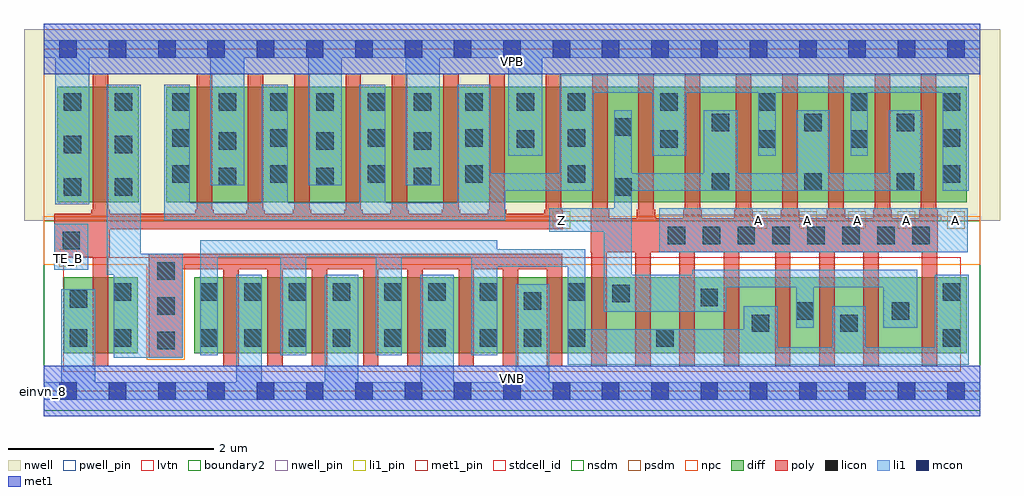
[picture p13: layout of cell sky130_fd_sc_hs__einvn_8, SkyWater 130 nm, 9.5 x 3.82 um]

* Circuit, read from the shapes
.subckt sky130_fd_sc_hs__einvn_8 A TE_B VGND VNB VPB VPWR Z
XM1 n1 TE_B VGND VNB sky130_fd_pr__nfet_01v8_lvt w=0.74 l=0.15
XM2 VGND n1 n2 VNB sky130_fd_pr__nfet_01v8_lvt w=0.74 l=0.15 m=8
XM3 Z A n2 VNB sky130_fd_pr__nfet_01v8_lvt w=0.74 l=0.15 m=8
XM4 n1 TE_B VPWR VPB sky130_fd_pr__pfet_01v8 w=1.12 l=0.15
XM5 VPWR TE_B n3 VPB sky130_fd_pr__pfet_01v8 w=1.12 l=0.15 m=8
XM6 Z A n3 VPB sky130_fd_pr__pfet_01v8 w=1.12 l=0.15 m=8
.ends

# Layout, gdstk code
import gdstk
lib = gdstk.Library(unit=1e-6, precision=1e-09)
def R(c, l, rs):  # rectangles x0, y0, x1, y1
    for r in rs: c.add(gdstk.rectangle(r[:2], r[2:], *l))
def A(c, l, x, y, w, h, nx, ny, dx, dy):  # array of equal rectangles
    R(c, l, [(x+i*dx, y+j*dy, x+i*dx+w, y+j*dy+h) for i in range(nx) for j in range(ny)])
def P(c, l, *ps):  # polygons
    for p in ps: c.add(gdstk.Polygon(p, *l))
nwell_pin = (64, 16)
nwell = (64, 20)
diff = (65, 20)
poly = (66, 20)
licon = (66, 44)
li1_pin = (67, 16)
li1 = (67, 20)
mcon = (67, 44)
met1_pin = (68, 16)
met1 = (68, 20)
stdcell_id = (81, 4)
nsdm = (93, 44)
psdm = (94, 20)
npc = (95, 20)
pwell_pin = (122, 16)
lvtn = (125, 44)
boundary2 = (236, 0)

sky130_fd_sc_hs__einvn_8 = lib.new_cell('sky130_fd_sc_hs__einvn_8')
R(sky130_fd_sc_hs__einvn_8, nwell_pin, [(0,3.085,9.12,3.33)])
R(sky130_fd_sc_hs__einvn_8, nwell, [(-0.19,1.66,9.31,3.52)])
R(sky130_fd_sc_hs__einvn_8, diff, [(0.195,0.37,0.915,1.11), (1.465,0.37,8.985,1.11), (0.135,1.84,0.925,2.96), (1.195,1.84,8.985,2.96)])
P(sky130_fd_sc_hs__einvn_8, poly, [(8.705,1.765),(8.69,1.765),(8.69,3.09),(8.54,3.09),(8.54,1.765),(8.525,1.765),(8.525,1.68),(8.255,1.68),(8.255,1.765),(8.24,1.765),(8.24,3.09),(8.09,3.09),(8.09,1.765),(8.075,1.765),(8.075,1.68),(7.805,1.68),(7.805,1.765),(7.79,1.765),(7.79,3.09),(7.64,3.09),(7.64,1.765),(7.625,1.765),(7.625,1.68),(7.355,1.68),(7.355,1.765),(7.34,1.765),(7.34,3.09),(7.19,3.09),(7.19,1.765),(7.175,1.765),(7.175,1.68),(6.905,1.68),(6.905,1.765),(6.89,1.765),(6.89,3.09),(6.74,3.09),(6.74,1.765),(6.725,1.765),(6.725,1.68),(6.405,1.68),(6.405,1.765),(6.39,1.765),(6.39,3.09),(6.24,3.09),(6.24,1.765),(6.225,1.765),(6.225,1.68),(5.955,1.68),(5.955,1.765),(5.94,1.765),(5.94,3.09),(5.79,3.09),(5.79,1.765),(5.775,1.765),(5.775,1.68),(5.505,1.68),(5.505,1.765),(5.49,1.765),(5.49,3.09),(5.34,3.09),(5.34,1.765),(5.325,1.765),(5.325,1.35),(5.33,1.35),(5.33,0.24),(5.48,0.24),(5.48,1.35),(5.76,1.35),(5.76,0.24),(5.91,0.24),(5.91,1.35),(6.19,1.35),(6.19,0.24),(6.34,0.24),(6.34,1.35),(6.62,1.35),(6.62,0.24),(6.77,0.24),(6.77,1.35),(7.12,1.35),(7.12,0.24),(7.27,0.24),(7.27,1.35),(7.55,1.35),(7.55,0.24),(7.7,0.24),(7.7,1.35),(7.98,1.35),(7.98,0.24),(8.13,0.24),(8.13,1.35),(8.55,1.35),(8.55,0.24),(8.7,0.24),(8.7,1.35),(8.705,1.35)],
  [(5.055,1.765),(5.04,1.765),(5.04,3.09),(4.89,3.09),(4.89,1.765),(4.875,1.765),(4.875,1.725),(4.505,1.725),(4.505,1.765),(4.49,1.765),(4.49,3.09),(4.34,3.09),(4.34,1.765),(4.325,1.765),(4.325,1.725),(4.055,1.725),(4.055,1.765),(4.04,1.765),(4.04,3.09),(3.89,3.09),(3.89,1.765),(3.875,1.765),(3.875,1.725),(3.555,1.725),(3.555,1.765),(3.54,1.765),(3.54,3.09),(3.39,3.09),(3.39,1.765),(3.375,1.765),(3.375,1.725),(3.105,1.725),(3.105,1.765),(3.09,1.765),(3.09,3.09),(2.94,3.09),(2.94,1.765),(2.925,1.765),(2.925,1.725),(2.605,1.725),(2.605,1.765),(2.59,1.765),(2.59,3.09),(2.44,3.09),(2.44,1.765),(2.425,1.765),(2.425,1.725),(2.155,1.725),(2.155,1.765),(2.14,1.765),(2.14,3.09),(1.99,3.09),(1.99,1.765),(1.975,1.765),(1.975,1.725),(1.655,1.725),(1.655,1.765),(1.64,1.765),(1.64,3.09),(1.49,3.09),(1.49,1.765),(1.475,1.765),(1.475,1.725),(0.645,1.725),(0.645,1.765),(0.63,1.765),(0.63,3.09),(0.48,3.09),(0.48,1.765),(0.465,1.765),(0.465,1.725),(0.105,1.725),(0.105,1.3),(0.48,1.3),(0.48,0.24),(0.63,0.24),(0.63,1.3),(0.645,1.3),(0.645,1.575),(5.055,1.575)],
  [(5.05,1.335),(1.025,1.335),(1.025,0.325),(1.355,0.325),(1.355,1.185),(1.75,1.185),(1.75,0.24),(1.9,0.24),(1.9,1.185),(2.18,1.185),(2.18,0.24),(2.33,0.24),(2.33,1.185),(2.61,1.185),(2.61,0.24),(2.76,0.24),(2.76,1.185),(3.11,1.185),(3.11,0.24),(3.26,0.24),(3.26,1.185),(3.54,1.185),(3.54,0.24),(3.69,0.24),(3.69,1.185),(4.04,1.185),(4.04,0.24),(4.19,0.24),(4.19,1.185),(4.47,1.185),(4.47,0.24),(4.62,0.24),(4.62,1.185),(4.9,1.185),(4.9,0.24),(5.05,0.24)])
A(sky130_fd_sc_hs__einvn_8, licon, 1.105, 0.405, 0.17, 0.17, 1, 3, 0, 0.34)
A(sky130_fd_sc_hs__einvn_8, licon, 1.525, 0.43, 0.17, 0.17, 4, 2, 0.43, 0.45)
A(sky130_fd_sc_hs__einvn_8, licon, 4.245, 0.43, 0.17, 0.17, 3, 1, 0.43, 0)
A(sky130_fd_sc_hs__einvn_8, licon, 6.075, 1.43, 0.17, 0.17, 8, 1, 0.34, 0)
A(sky130_fd_sc_hs__einvn_8, licon, 0.195, 1.9, 0.17, 0.17, 1, 3, 0, 0.415)
A(sky130_fd_sc_hs__einvn_8, licon, 0.695, 1.9, 0.17, 0.17, 1, 3, 0, 0.415)
A(sky130_fd_sc_hs__einvn_8, licon, 6.505, 1.95, 0.17, 0.17, 3, 2, 0.9, 0.58)
A(sky130_fd_sc_hs__einvn_8, licon, 1.705, 2.005, 0.17, 0.17, 3, 2, 0.95, 0.345)
A(sky130_fd_sc_hs__einvn_8, licon, 1.255, 2.03, 0.17, 0.17, 4, 2, 0.95, 0.35)
A(sky130_fd_sc_hs__einvn_8, licon, 3.605, 2.73, 0.17, 0.17, 4, 1, 0.5, 0)
A(sky130_fd_sc_hs__einvn_8, licon, 6.955, 2.73, 0.17, 0.17, 3, 1, 0.9, 0)
R(sky130_fd_sc_hs__einvn_8, licon, [(0.255,0.43,0.425,0.6), (0.685,0.43,0.855,0.6), (3.315,0.43,3.485,0.6), (3.745,0.43,3.915,0.6), (5.965,0.43,6.135,0.6), (8.755,0.43,8.925,0.6), (6.895,0.575,7.065,0.745), (7.755,0.575,7.925,0.745), (7.325,0.695,7.495,0.865), (8.255,0.695,8.425,0.865), (4.675,0.79,4.845,0.96), (0.255,0.81,0.425,0.98), (6.395,0.825,6.565,0.995), (5.535,0.865,5.705,1.035), (0.685,0.88,0.855,1.05), (3.315,0.88,3.485,1.05), (3.745,0.88,3.915,1.05), (4.245,0.88,4.415,1.05), (5.105,0.88,5.275,1.05), (8.755,0.88,8.925,1.05), (0.185,1.38,0.355,1.55), (5.555,1.9,5.725,2.07), (5.105,2.03,5.275,2.2), (8.755,2.03,8.925,2.2), (4.605,2.37,4.775,2.54), (6.005,2.37,6.175,2.54), (6.955,2.37,7.125,2.54), (7.855,2.37,8.025,2.54), (5.105,2.38,5.275,2.55), (8.755,2.38,8.925,2.55), (5.555,2.485,5.725,2.655), (1.255,2.73,1.425,2.9), (1.705,2.73,1.875,2.9), (2.205,2.73,2.375,2.9), (2.655,2.73,2.825,2.9), (3.155,2.73,3.325,2.9), (6.005,2.73,6.175,2.9)])
A(sky130_fd_sc_hs__einvn_8, li1_pin, 6.875, 1.58, 0.17, 0.17, 5, 1, 0.48, 0)
R(sky130_fd_sc_hs__einvn_8, li1_pin, [(0.155,1.21,0.325,1.38), (4.955,1.58,5.125,1.75)])
R(sky130_fd_sc_hs__einvn_8, li1, [(0.105,1.18,0.435,1.63), (5.995,1.35,8.995,1.78)])
P(sky130_fd_sc_hs__einvn_8, li1, [(0,-0.085),(0,0.085),(0.175,0.085),(0.175,0.99),(0.505,0.99),(0.505,0.085),(1.875,0.085),(1.875,1.13),(2.125,1.13),(2.125,0.085),(2.735,0.085),(2.735,1.13),(3.065,1.13),(3.065,0.085),(3.665,0.085),(3.665,1.13),(3.995,1.13),(3.995,0.085),(4.595,0.085),(4.595,1.04),(4.925,1.04),(4.925,0.085),(9.12,0.085),(9.12,-0.085)],
  [(0,3.245),(0,3.415),(9.12,3.415),(9.12,3.245),(4.855,3.245),(4.855,2.29),(4.525,2.29),(4.525,3.245),(3.855,3.245),(3.855,2.005),(3.525,2.005),(3.525,3.245),(2.905,3.245),(2.905,2.005),(2.575,2.005),(2.575,3.245),(1.955,3.245),(1.955,2.005),(1.625,2.005),(1.625,3.245),(0.445,3.245),(0.445,1.82),(0.115,1.82),(0.115,3.245)],
  [(5.555,1.78),(5.555,2.735),(5.725,2.735),(5.725,2.12),(6.425,2.12),(6.425,2.735),(6.755,2.735),(6.755,2.12),(7.325,2.12),(7.325,2.735),(7.655,2.735),(7.655,2.12),(8.225,2.12),(8.225,2.735),(8.555,2.735),(8.555,1.95),(5.725,1.95),(5.725,1.13),(6.315,1.13),(6.315,1.18),(8.505,1.18),(8.505,0.615),(8.175,0.615),(8.175,1.01),(7.495,1.01),(7.495,0.615),(7.325,0.615),(7.325,1.01),(6.645,1.01),(6.645,0.77),(5.455,0.77),(5.455,1.55),(4.925,1.55),(4.925,1.78)],
  [(0.685,0.325),(0.685,1.13),(0.615,1.13),(0.615,2.98),(0.945,2.98),(0.945,1.335),(1.355,1.335),(1.355,0.325)],
  [(1.525,1.47),(4.415,1.47),(4.415,1.38),(5.275,1.38),(5.275,0.6),(6.815,0.6),(6.815,0.825),(7.145,0.825),(7.145,0.425),(7.675,0.425),(7.675,0.825),(8.005,0.825),(8.005,0.425),(8.675,0.425),(8.675,1.13),(9.005,1.13),(9.005,0.255),(5.105,0.255),(5.105,1.21),(4.415,1.21),(4.415,0.35),(4.165,0.35),(4.165,1.3),(3.485,1.3),(3.485,0.35),(3.235,0.35),(3.235,1.3),(2.555,1.3),(2.555,0.35),(2.305,0.35),(2.305,1.3),(1.695,1.3),(1.695,0.35),(1.525,0.35)],
  [(9.005,3.075),(5.025,3.075),(5.025,2.12),(4.355,2.12),(4.355,2.98),(4.025,2.98),(4.025,1.835),(3.325,1.835),(3.325,2.98),(3.075,2.98),(3.075,1.835),(2.375,1.835),(2.375,2.98),(2.125,2.98),(2.125,1.835),(1.425,1.835),(1.425,2.98),(1.175,2.98),(1.175,1.665),(4.495,1.665),(4.495,1.95),(5.355,1.95),(5.355,2.905),(5.925,2.905),(5.925,2.29),(6.255,2.29),(6.255,2.905),(6.955,2.905),(6.955,2.29),(7.125,2.29),(7.125,2.905),(7.855,2.905),(7.855,2.29),(8.025,2.29),(8.025,2.905),(8.755,2.905),(8.755,1.95),(9.005,1.95)])
A(sky130_fd_sc_hs__einvn_8, mcon, 0.155, -0.085, 0.17, 0.17, 19, 2, 0.48, 3.33)
R(sky130_fd_sc_hs__einvn_8, met1_pin, [(0,0,9.12,0.245), (0,3.085,9.12,3.33)])
R(sky130_fd_sc_hs__einvn_8, met1, [(0,-0.245,9.12,0.245), (0,3.085,9.12,3.575)])
R(sky130_fd_sc_hs__einvn_8, stdcell_id, [(0,0,9.12,3.33)])
R(sky130_fd_sc_hs__einvn_8, nsdm, [(0,-0.19,9.12,1.66)])
P(sky130_fd_sc_hs__einvn_8, psdm, [(9.12,3.52),(0,3.52),(0,1.66),(5.965,1.66),(5.965,1.71),(8.735,1.71),(8.735,1.66),(9.12,1.66)])
P(sky130_fd_sc_hs__einvn_8, npc, [(9.12,1.7),(0,1.7),(0,1.23),(1.005,1.23),(1.005,0.305),(1.375,0.305),(1.375,1.23),(9.12,1.23)])
R(sky130_fd_sc_hs__einvn_8, pwell_pin, [(0,0,9.12,0.245)])
R(sky130_fd_sc_hs__einvn_8, lvtn, [(0.19,0.19,8.93,1.3)])
R(sky130_fd_sc_hs__einvn_8, boundary2, [(0,0,9.12,3.33)])
sky130_fd_sc_hs__einvn_8.add(gdstk.Label('einvn_8', (0,0), layer=83, texttype=44))
sky130_fd_sc_hs__einvn_8.add(gdstk.Label('VNB', (4.56,0.123), layer=64, texttype=59))
sky130_fd_sc_hs__einvn_8.add(gdstk.Label('VPB', (4.56,3.208), layer=64, texttype=5))
sky130_fd_sc_hs__einvn_8.add(gdstk.Label('VPWR', (4.56,3.208), layer=68, texttype=5))
sky130_fd_sc_hs__einvn_8.add(gdstk.Label('VGND', (4.56,0.123), layer=68, texttype=5))
sky130_fd_sc_hs__einvn_8.add(gdstk.Label('A', (6.96,1.665), layer=67, texttype=5))
sky130_fd_sc_hs__einvn_8.add(gdstk.Label('A', (7.44,1.665), layer=67, texttype=5))
sky130_fd_sc_hs__einvn_8.add(gdstk.Label('A', (7.92,1.665), layer=67, texttype=5))
sky130_fd_sc_hs__einvn_8.add(gdstk.Label('A', (8.4,1.665), layer=67, texttype=5))
sky130_fd_sc_hs__einvn_8.add(gdstk.Label('A', (8.88,1.665), layer=67, texttype=5))
sky130_fd_sc_hs__einvn_8.add(gdstk.Label('TE_B', (0.24,1.295), layer=67, texttype=5))
sky130_fd_sc_hs__einvn_8.add(gdstk.Label('Z', (5.04,1.665), layer=67, texttype=5))

lib.write_gds('sky130_fd_sc_hs__einvn_8.gds')
